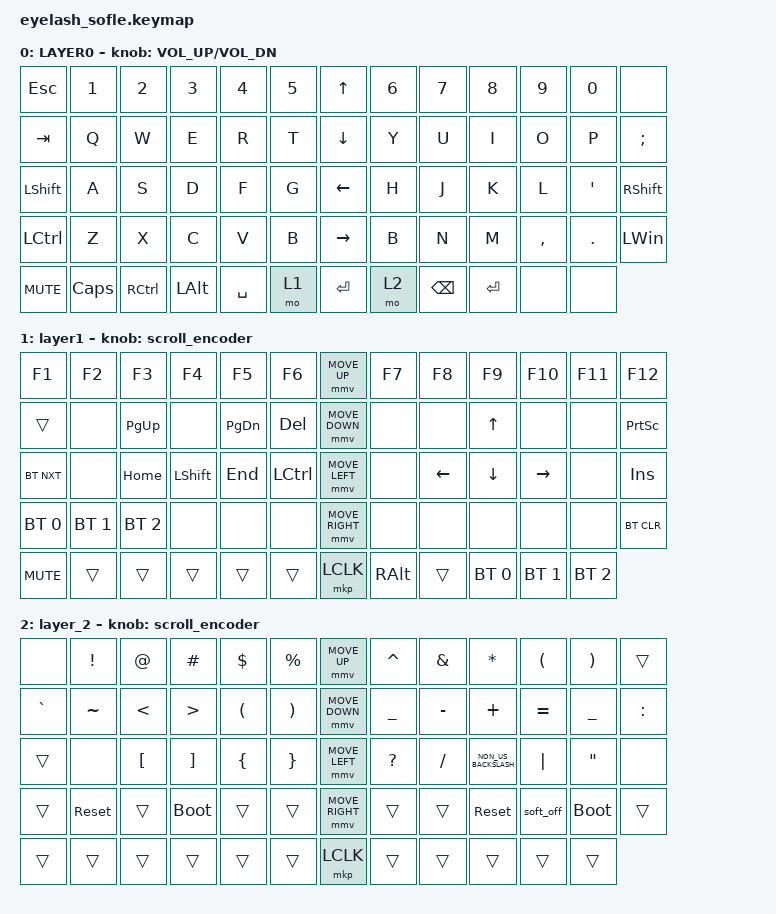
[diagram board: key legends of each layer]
#define ZMK_POINTING_DEFAULT_MOVE_VAL 1200  // 600
#define ZMK_POINTING_DEFAULT_SCRL_VAL 25   // 10

#include <input/processors.dtsi>
#include <zephyr/dt-bindings/input/input-event-codes.h>
#include <behaviors.dtsi>
#include <dt-bindings/zmk/bt.h>
#include <dt-bindings/zmk/keys.h>
#include <dt-bindings/zmk/pointing.h>

&mmv_input_listener { input-processors = <&zip_xy_scaler 2 1>; };

&msc_input_listener { input-processors = <&zip_scroll_scaler 2 1>; };

&msc {
    acceleration-exponent = <1>;      // 0
    time-to-max-speed-ms = <100>;       // 300
    delay-ms = <0>;                   // 0
};

&mmv {
    time-to-max-speed-ms = <500>;
    acceleration-exponent = <1>;
    trigger-period-ms = <16>;
};

/ {
    scroll_encoder: scroll_encoder {
        compatible = "zmk,behavior-sensor-rotate";
        #sensor-binding-cells = <0>;
        bindings = <&msc SCRL_DOWN>, <&msc SCRL_UP>;

        tap-ms = <100>;
    };

    behaviors {
    };

    keymap {
        compatible = "zmk,keymap";

        layer0 {
            bindings = <
&kp ESC         &kp N1    &kp N2     &kp N3        &kp N4     &kp N5    &kp UP_ARROW     &kp N6  &kp N7         &kp N8     &kp N9     &kp N0      &none
&kp TAB         &kp Q     &kp W      &kp E         &kp R      &kp T     &kp DOWN_ARROW   &kp Y   &kp U          &kp I      &kp O      &kp P       &kp SEMICOLON
&kp LEFT_SHIFT  &kp A     &kp S      &kp D         &kp F      &kp G     &kp LEFT_ARROW   &kp H   &kp J          &kp K      &kp L      &kp SQT     &kp RIGHT_SHIFT
&kp LCTRL       &kp Z     &kp X      &kp C         &kp V      &kp B     &kp RIGHT_ARROW  &kp B   &kp N          &kp M      &kp COMMA  &kp PERIOD  &kp LEFT_WIN
&kp C_MUTE      &kp CLCK  &kp RCTRL  &kp LEFT_ALT  &kp SPACE  &mo 1     &kp ENTER        &mo 2   &kp BACKSPACE  &kp ENTER  &none      &none
            >;

            sensor-bindings = <&inc_dec_kp C_VOLUME_UP C_VOL_DN>;
            display-name = "LAYER0";
        };

        layer_1 {
            bindings = <
&kp F1        &kp F2        &kp F3        &kp F4          &kp F5         &kp F6              &mmv MOVE_UP     &kp F7         &kp F8    &kp F9        &kp F10       &kp F11       &kp F12
&trans        &none         &kp PAGE_UP   &none           &kp PAGE_DOWN  &kp DELETE          &mmv MOVE_DOWN   &none          &none     &kp UP        &none         &none         &kp PRINTSCREEN
&bt BT_NXT    &none         &kp HOME      &kp LEFT_SHIFT  &kp END        &kp LEFT_CONTROL    &mmv MOVE_LEFT   &none          &kp LEFT  &kp DOWN      &kp RIGHT     &none         &kp INSERT
&bt BT_SEL 0  &bt BT_SEL 1  &bt BT_SEL 2  &none           &none          &none               &mmv MOVE_RIGHT  &none          &none     &none         &none         &none         &bt BT_CLR
&kp C_MUTE    &trans        &trans        &trans          &trans         &trans              &mkp LCLK        &kp RIGHT_ALT  &trans    &bt BT_SEL 0  &bt BT_SEL 1  &bt BT_SEL 2
            >;

            display-name = "layer1";
            sensor-bindings = <&scroll_encoder>;
        };

        layer_2 {
            bindings = <
&none      &kp EXCLAMATION  &kp AT_SIGN       &kp HASH           &kp DOLLAR            &kp PERCENT              &mmv MOVE_UP     &kp CARET     &kp AMPERSAND  &kp ASTERISK          &kp LEFT_PARENTHESIS  &kp RIGHT_PARENTHESIS  &trans
&kp GRAVE  &kp TILDE        &kp LESS_THAN     &kp GREATER_THAN   &kp LEFT_PARENTHESIS  &kp RIGHT_PARENTHESIS    &mmv MOVE_DOWN   &kp UNDER     &kp MINUS      &kp PLUS              &kp EQUAL             &kp UNDER              &kp COLON
&trans     &none            &kp LEFT_BRACKET  &kp RIGHT_BRACKET  &kp LEFT_BRACE        &kp RIGHT_BRACE          &mmv MOVE_LEFT   &kp QUESTION  &kp SLASH      &kp NON_US_BACKSLASH  &kp PIPE              &kp DOUBLE_QUOTES      &none
&trans     &sys_reset       &trans            &bootloader        &trans                &trans                   &mmv MOVE_RIGHT  &trans        &trans         &sys_reset            &soft_off             &bootloader            &trans
&trans     &trans           &trans            &trans             &trans                &trans                   &mkp LCLK        &trans        &trans         &trans                &trans                &trans
            >;

            sensor-bindings = <&scroll_encoder>;
        };
    };
};
